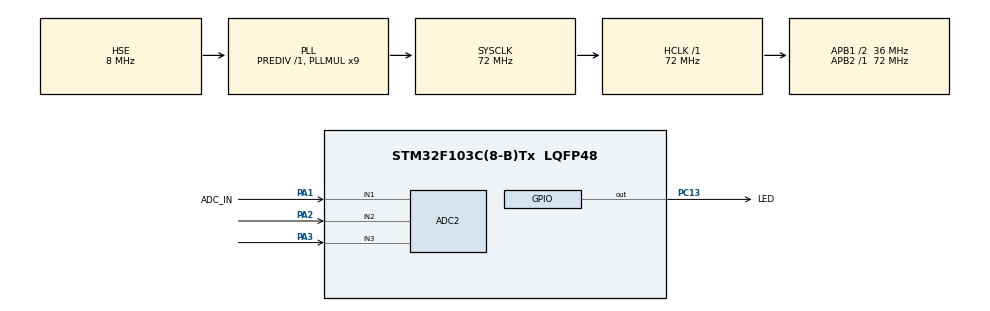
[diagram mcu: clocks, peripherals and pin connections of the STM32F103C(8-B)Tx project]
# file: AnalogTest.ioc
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ADC2.Channel-4\#ChannelRegularConversion=ADC_CHANNEL_1
ADC2.ContinuousConvMode=ENABLE
ADC2.NbrOfConversionFlag=1
ADC2.Rank-4\#ChannelRegularConversion=1
ADC2.SamplingTime-4\#ChannelRegularConversion=ADC_SAMPLETIME_1CYCLE_5
Mcu.Family=STM32F1
Mcu.Name=STM32F103C(8-B)Tx
Mcu.Package=LQFP48
NVIC.PriorityGroup=NVIC_PRIORITYGROUP_4
PA1.GPIO_Label=ADC_IN
PA1.Signal=ADCx_IN1
PA2.Signal=ADCx_IN2
PA3.Signal=ADCx_IN3
PC13-TAMPER-RTC.GPIO_Label=LED
PC13-TAMPER-RTC.GPIO_ModeDefaultOutputPP=GPIO_MODE_OUTPUT_OD
PC13-TAMPER-RTC.GPIO_Speed=GPIO_SPEED_FREQ_HIGH
PC13-TAMPER-RTC.PinState=GPIO_PIN_SET
PC13-TAMPER-RTC.Signal=GPIO_Output
PD0-OSC_IN.Mode=HSE-External-Oscillator
PD0-OSC_IN.Signal=RCC_OSC_IN
PD1-OSC_OUT.Mode=HSE-External-Oscillator
PD1-OSC_OUT.Signal=RCC_OSC_OUT
ProjectManager.HeapSize=0x200
ProjectManager.StackSize=0x400
ProjectManager.TargetToolchain=MDK-ARM V5
RCC.ADCPresc=RCC_ADCPCLK2_DIV6
RCC.AHBFreq_Value=72000000
RCC.APB1CLKDivider=RCC_HCLK_DIV2
RCC.APB1Freq_Value=36000000
RCC.APB1TimFreq_Value=72000000
RCC.APB2Freq_Value=72000000
RCC.APB2TimFreq_Value=72000000
RCC.HCLKFreq_Value=72000000
RCC.HSIState=RCC_HSI_ON
RCC.PLLMUL=RCC_PLL_MUL9
RCC.PLLSourceVirtual=RCC_PLLSOURCE_HSE
RCC.PREFETCH_ENABLE=1
RCC.SYSCLKFreq_VALUE=72000000
RCC.SYSCLKSource=RCC_SYSCLKSOURCE_PLLCLK
RCC.USBFreq_Value=48000000
RCC.USBPrescaler=RCC_USBCLKSOURCE_PLL_DIV1_5
RCC.VDD_VALUE=3.3
SH.ADCx_IN1.0=ADC2_IN1,IN1
SH.ADCx_IN2.0=ADC2_IN2,IN2
SH.ADCx_IN3.0=ADC2_IN3,IN3
VP_SYS_VS_ND.Mode=No_Debug
board=AnalogTest

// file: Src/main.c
/**
  ******************************************************************************
  * File Name          : main.c
  * Description        : Main program body
  ******************************************************************************
  *
  * COPYRIGHT(c) 2016 STMicroelectronics
  *
  * Redistribution and use in source and binary forms, with or without modification,
  * are permitted provided that the following conditions are met:
  *   1. Redistributions of source code must retain the above copyright notice,
  *      this list of conditions and the following disclaimer.
  *   2. Redistributions in binary form must reproduce the above copyright notice,
  *      this list of conditions and the following disclaimer in the documentation
  *      and/or other materials provided with the distribution.
  *   3. Neither the name of STMicroelectronics nor the names of its contributors
  *      may be used to endorse or promote products derived from this software
  *      without specific prior written permission.
  *
  * THIS SOFTWARE IS PROVIDED BY THE COPYRIGHT HOLDERS AND CONTRIBUTORS "AS IS"
  * AND ANY EXPRESS OR IMPLIED WARRANTIES, INCLUDING, BUT NOT LIMITED TO, THE
  * IMPLIED WARRANTIES OF MERCHANTABILITY AND FITNESS FOR A PARTICULAR PURPOSE ARE
  * DISCLAIMED. IN NO EVENT SHALL THE COPYRIGHT HOLDER OR CONTRIBUTORS BE LIABLE
  * FOR ANY DIRECT, INDIRECT, INCIDENTAL, SPECIAL, EXEMPLARY, OR CONSEQUENTIAL
  * DAMAGES (INCLUDING, BUT NOT LIMITED TO, PROCUREMENT OF SUBSTITUTE GOODS OR
  * SERVICES; LOSS OF USE, DATA, OR PROFITS; OR BUSINESS INTERRUPTION) HOWEVER
  * CAUSED AND ON ANY THEORY OF LIABILITY, WHETHER IN CONTRACT, STRICT LIABILITY,
  * OR TORT (INCLUDING NEGLIGENCE OR OTHERWISE) ARISING IN ANY WAY OUT OF THE USE
  * OF THIS SOFTWARE, EVEN IF ADVISED OF THE POSSIBILITY OF SUCH DAMAGE.
  *
  ******************************************************************************
  */
#include "stm32f1xx_hal.h"

/* USER CODE BEGIN Includes */
#include "..\..\Common\led.h"
/* USER CODE END Includes */

ADC_HandleTypeDef hadc2;

/* USER CODE BEGIN PV */
/* Private variables ---------------------------------------------------------*/

/* USER CODE END PV */

void SystemClock_Config(void);
void Error_Handler(void);
static void MX_GPIO_Init(void);
static void MX_ADC2_Init(void);

/* USER CODE BEGIN PFP */
/* Private function prototypes -----------------------------------------------*/

/* USER CODE END PFP */

/* USER CODE BEGIN 0 */

uint64_t HAL_GetMicros()
{
	uint64_t ticks = HAL_GetTick();
	uint64_t systick = (uint64_t)SysTick->VAL;
	return (ticks * 1000ull) + 1000ull - (systick / 72ul);
}

void HAL_MicroDelay(uint64_t delay)
{
	uint64_t tickstart = 0;
	tickstart = HAL_GetMicros();
	while((HAL_GetMicros() - tickstart) < delay)
	{
	}
}

uint32_t delay = 0;

/* USER CODE END 0 */

int main(void)
{

  /* MCU Configuration----------------------------------------------------------*/

  /* Reset of all peripherals, Initializes the Flash interface and the Systick. */
  HAL_Init();

  /* Configure the system clock */
  SystemClock_Config();

  /* Initialize all configured peripherals */
  MX_GPIO_Init();
  MX_ADC2_Init();

  /* USER CODE BEGIN 2 */
	HAL_ADC_Start(&hadc2);
  /* USER CODE END 2 */

  /* Infinite loop */
  /* USER CODE BEGIN WHILE */
	while (true)
	{
		if (HAL_ADC_PollForConversion(&hadc2, 1) == HAL_OK)
		{
			uint32_t val = HAL_ADC_GetValue(&hadc2);
			delay = 0xfff - val;
			Blink(delay);
		}

	}
  /* USER CODE END WHILE */

}

/** System Clock Configuration
*/
void SystemClock_Config(void)
{

  RCC_OscInitTypeDef RCC_OscInitStruct;
  RCC_ClkInitTypeDef RCC_ClkInitStruct;
  RCC_PeriphCLKInitTypeDef PeriphClkInit;

  RCC_OscInitStruct.OscillatorType = RCC_OSCILLATORTYPE_HSE;
  RCC_OscInitStruct.HSEState = RCC_HSE_ON;
  RCC_OscInitStruct.HSEPredivValue = RCC_HSE_PREDIV_DIV1;
  RCC_OscInitStruct.PLL.PLLState = RCC_PLL_ON;
  RCC_OscInitStruct.PLL.PLLSource = RCC_PLLSOURCE_HSE;
  RCC_OscInitStruct.PLL.PLLMUL = RCC_PLL_MUL9;
  if (HAL_RCC_OscConfig(&RCC_OscInitStruct) != HAL_OK)
  {
    Error_Handler();
  }

  RCC_ClkInitStruct.ClockType = RCC_CLOCKTYPE_HCLK|RCC_CLOCKTYPE_SYSCLK
                              |RCC_CLOCKTYPE_PCLK1|RCC_CLOCKTYPE_PCLK2;
  RCC_ClkInitStruct.SYSCLKSource = RCC_SYSCLKSOURCE_PLLCLK;
  RCC_ClkInitStruct.AHBCLKDivider = RCC_SYSCLK_DIV1;
  RCC_ClkInitStruct.APB1CLKDivider = RCC_HCLK_DIV2;
  RCC_ClkInitStruct.APB2CLKDivider = RCC_HCLK_DIV1;
  if (HAL_RCC_ClockConfig(&RCC_ClkInitStruct, FLASH_LATENCY_2) != HAL_OK)
  {
    Error_Handler();
  }

  PeriphClkInit.PeriphClockSelection = RCC_PERIPHCLK_ADC;
  PeriphClkInit.AdcClockSelection = RCC_ADCPCLK2_DIV6;
  if (HAL_RCCEx_PeriphCLKConfig(&PeriphClkInit) != HAL_OK)
  {
    Error_Handler();
  }

  HAL_SYSTICK_Config(HAL_RCC_GetHCLKFreq()/1000);

  HAL_SYSTICK_CLKSourceConfig(SYSTICK_CLKSOURCE_HCLK);

  /* SysTick_IRQn interrupt configuration */
  HAL_NVIC_SetPriority(SysTick_IRQn, 0, 0);
}

/* ADC2 init function */
static void MX_ADC2_Init(void)
{

  ADC_ChannelConfTypeDef sConfig;

    /**Common config
    */
  hadc2.Instance = ADC2;
  hadc2.Init.ScanConvMode = ADC_SCAN_DISABLE;
  hadc2.Init.ContinuousConvMode = ENABLE;
  hadc2.Init.DiscontinuousConvMode = DISABLE;
  hadc2.Init.ExternalTrigConv = ADC_SOFTWARE_START;
  hadc2.Init.DataAlign = ADC_DATAALIGN_RIGHT;
  hadc2.Init.NbrOfConversion = 1;
  if (HAL_ADC_Init(&hadc2) != HAL_OK)
  {
    Error_Handler();
  }

    /**Configure Regular Channel
    */
  sConfig.Channel = ADC_CHANNEL_1;
  sConfig.Rank = 1;
  sConfig.SamplingTime = ADC_SAMPLETIME_1CYCLE_5;
  if (HAL_ADC_ConfigChannel(&hadc2, &sConfig) != HAL_OK)
  {
    Error_Handler();
  }

}

/** Configure pins as
        * Analog
        * Input
        * Output
        * EVENT_OUT
        * EXTI
*/
static void MX_GPIO_Init(void)
{

  GPIO_InitTypeDef GPIO_InitStruct;

  /* GPIO Ports Clock Enable */
  __HAL_RCC_GPIOC_CLK_ENABLE();
  __HAL_RCC_GPIOD_CLK_ENABLE();
  __HAL_RCC_GPIOA_CLK_ENABLE();

  /*Configure GPIO pin Output Level */
  HAL_GPIO_WritePin(LED_GPIO_Port, LED_Pin, GPIO_PIN_SET);

  /*Configure GPIO pin : LED_Pin */
  GPIO_InitStruct.Pin = LED_Pin;
  GPIO_InitStruct.Mode = GPIO_MODE_OUTPUT_OD;
  GPIO_InitStruct.Speed = GPIO_SPEED_FREQ_HIGH;
  HAL_GPIO_Init(LED_GPIO_Port, &GPIO_InitStruct);

  /*Configure GPIO pin : ANALOG_IN_Pin */
  GPIO_InitStruct.Pin = ANALOG_IN_Pin;
  GPIO_InitStruct.Mode = GPIO_MODE_ANALOG;
  HAL_GPIO_Init(ANALOG_IN_GPIO_Port, &GPIO_InitStruct);

}

void Error_Handler(void)
{
  /* USER CODE BEGIN Error_Handler */
  /* User can add his own implementation to report the HAL error return state */
	  NVIC_SystemReset();
  /* USER CODE END Error_Handler */
}

/************************ (C) COPYRIGHT STMicroelectronics *****END OF FILE****/
